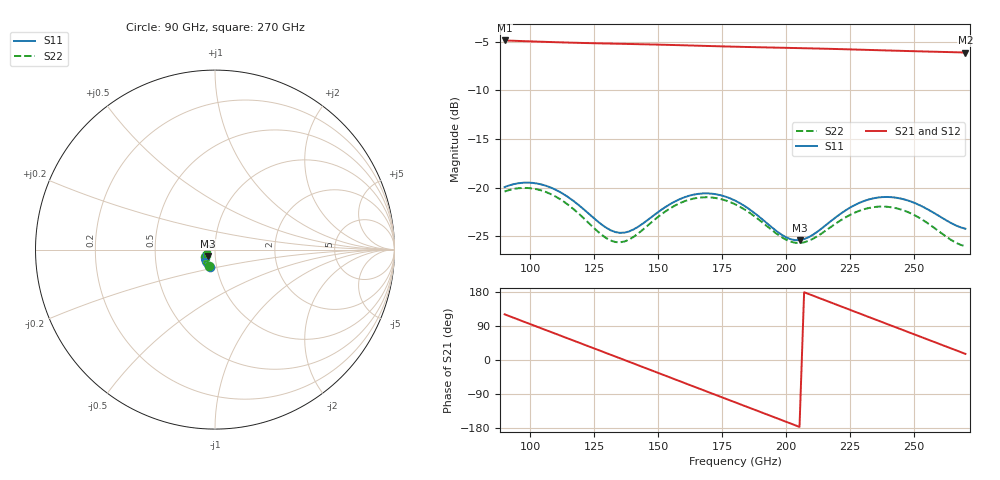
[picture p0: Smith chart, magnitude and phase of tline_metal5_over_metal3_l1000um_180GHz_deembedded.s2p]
! Created with skrf 2.0.1 (http://scikit-rf.org).
# GHz S DB R 50.0
!freq dBS11 angS11 dBS21 angS21 dBS12 angS12 dBS22 angS22
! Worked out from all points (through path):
!   101 points, 90 GHz to 270 GHz, reference 50 ohm
!   highest |S21| = -4.84 dB at 90 GHz (marker M1); lowest = -6.1 dB at 270 GHz (marker M2)
!   group delay of S21, straight-line fit = 7.17 ps
!   lowest |S11| = -25.4 dB at 205.2 GHz (marker M3), VSWR 1.11, Z = 46.1 - j3.33 ohm
!   |S11| at or under -10 dB: start of sweep to end of sweep
!   |S22| runs from -26.0 to -20.0 dB; largest |S21 - S12| = 9.7e-14
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90  -19.95 -107.3  -4.84 120.5  -4.84 120.5  -20.41 -109.4
97.2  -19.51 -117.3  -4.91 102.0  -4.91 102.0  -20.04 -119.8
104.4  -19.68 -127.6  -4.97 83.4  -4.97 83.4  -20.31 -130.5
111.6  -20.46 -136.6  -5.04 64.9  -5.04 64.9  -21.19 -139.8
120.6  -22.17 -143.2  -5.10 41.8  -5.10 41.8  -23.09 -146.3
127.8  -23.79 -141.3  -5.15 23.3  -5.15 23.3  -24.85 -143.5
135  -24.67 -132.0  -5.19 4.7  -5.19 4.7  -25.65 -132.4
142.2  -24.04 -122.5  -5.23 -13.9  -5.23 -13.9  -24.73 -122.5
151.2  -22.30 -120.4  -5.28 -37.2  -5.28 -37.2  -22.77 -121.6
165.6  -20.65 -132.8  -5.38 -74.4  -5.38 -74.4  -21.06 -135.9
172.8  -20.70 -141.1  -5.44 -93.0  -5.44 -93.0  -21.10 -145.0
180  -21.34 -148.6  -5.49 -111.6  -5.49 -111.6  -21.72 -153.0
192.6  -23.71 -153.4  -5.56 -144.0  -5.56 -144.0  -24.01 -159.2
205.2  -25.42 -137.7  -5.63 -176.5  -5.63 -176.5  -25.72 -146.3
210.6  -24.84 -129.5  -5.67 169.5  -5.67 169.5  -25.27 -139.2
217.8  -23.39 -125.0  -5.71 150.9  -5.71 150.9  -24.00 -135.4
226.8  -21.80 -128.2  -5.78 127.6  -5.78 127.6  -22.59 -139.1
234  -21.12 -134.4  -5.83 109.0  -5.83 109.0  -22.03 -145.6
241.2  -21.00 -141.4  -5.89 90.4  -5.89 90.4  -22.04 -153.0
253.8  -22.04 -150.8  -5.98 58.0  -5.98 58.0  -23.42 -162.7
262.8  -23.42 -150.8  -6.04 34.8  -6.04 34.8  -25.12 -161.6
270  -24.25 -144.8  -6.08 16.2  -6.08 16.2  -26.05 -153.2
